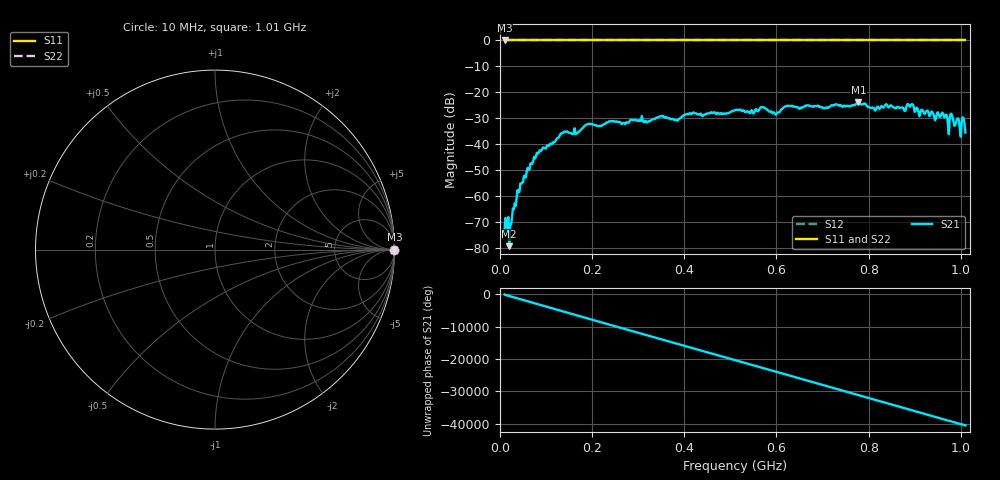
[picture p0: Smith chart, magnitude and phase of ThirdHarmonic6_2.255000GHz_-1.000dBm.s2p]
! 8/17/2025 2:44:35 AM
! C:\ANRITSUVNA\TEMP\TEMP.S2P
! CHANNEL.1
! TR.MEASUREMENT
! RAW.DATA
! RF.CORRECTION.OFF
! AVERAGING.OFF
! IF.BANDWIDTH: 5KHZ
! SWEEPTYPE:  FREQ.SWEEP(Linear)
! Reference Plane Port Info
! PORT:  PORT1  PORT2
! DISTANCE:  0  m  0  m
! TIME:  0  s  0  s
! PHASE.OFFSET:  0  deg.  0  deg.
! LOSS:  0  dB  0  dB
! REF.LOSS:  0  dB  0  dB
! REF.FREQ:  0  Hz  0  Hz
! Power Info
! POWER:  -20  dBm  -20  dBm
! EFF.POWER:  -20  dBm  -20  dBm
! SOURCE.ATTEN:  0  dB  0  dB
! TEST.ATTEN:  0  dB  0  dB
# GHZ S RI R 50.0
! FREQ.GHZ  S11RE  S11IM  S21RE  S21IM  S12RE  S12IM  S22RE  S22IM
!; PortSelection: Port_12
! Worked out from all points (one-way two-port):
!   501 points, 10 MHz to 1.01 GHz, reference 50 ohm
!   highest |S21| = -23.89 dB at 778 MHz (marker M1); lowest = -79.4 dB at 20 MHz (marker M2)
!   lowest |S11| = 0.0 dB at 10 MHz (marker M3)
!   |S11| at or under -10 dB: nowhere
!   |S22| runs from 0.0 to 0.0 dB; largest |S21 - S12| = 1.1
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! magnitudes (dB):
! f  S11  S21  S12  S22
! 10 MHz  0.0  -73.0  0.0  0.0
! 20 MHz  0.0  -79.4  0.0  0.0
! 42 MHz  0.0  -58.5  0.0  0.0
! 78 MHz  0.0  -44.9  0.0  0.0
! 136 MHz  0.0  -35.8  0.0  0.0
! 178 MHz  0.0  -34.0  0.0  0.0
! 344 MHz  0.0  -29.6  0.0  0.0
! 382 MHz  0.0  -30.7  0.0  0.0
! 416 MHz  0.0  -28.4  0.0  0.0
! 510 MHz  0.0  -27.0  0.0  0.0
! 570 MHz  0.0  -25.7  0.0  0.0
! 596 MHz  0.0  -28.0  0.0  0.0
! 622 MHz  0.0  -25.3  0.0  0.0
! 678 MHz  0.0  -25.5  0.0  0.0
! 778 MHz  0.0  -23.9  0.0  0.0
! 844 MHz  0.0  -25.9  0.0  0.0
! 894 MHz  0.0  -24.6  0.0  0.0
! 912 MHz  0.0  -28.1  0.0  0.0
! 964 MHz  0.0  -29.6  0.0  0.0
! 970 MHz  0.0  -28.9  0.0  0.0
! 980 MHz  0.0  -28.4  0.0  0.0
! 1.01 GHz  0.0  -35.5  0.0  0.0
